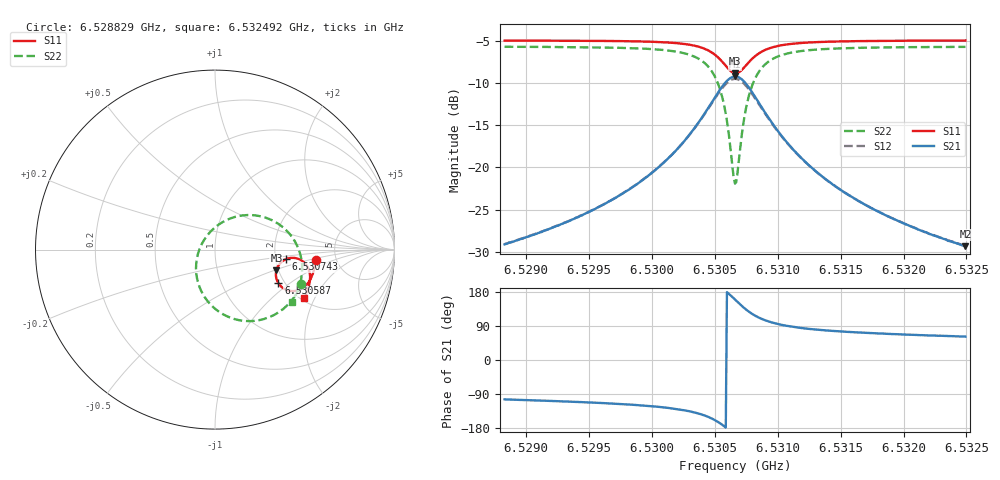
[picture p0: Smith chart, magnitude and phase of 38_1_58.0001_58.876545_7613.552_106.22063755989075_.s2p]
#  HZ  S  RI  R  50.00
! Rohde & Schwarz Vector Network Analyzer
! Rohde-Schwarz,ZNB20-2Port,1311601062101988,3.16
! Created: UTC 3/21/2024, 12:51:57 AM
! freq[Hz]  re:S11  im:S11  re:S21  im:S21  re:S12  im:S12  re:S22  im:S22
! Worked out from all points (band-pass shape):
!   401 points, 6.528829 GHz to 6.532492 GHz, reference 50 ohm
!   highest |S21| = -9.23 dB at 6.53066 GHz (marker M1); lowest = -29.3 dB at 6.532492 GHz (marker M2)
!   |S21| within 3 dB of the highest: 6.530478 GHz to 6.530845 GHz (366.3 kHz wide, 0.00561 % of centre)
!   lowest |S11| = -8.8 dB at 6.53066 GHz (marker M3), VSWR 2.13, Z = 97.5 - j25.8 ohm
!   |S11| at or under -10 dB: nowhere
!   |S22| runs from -21.9 to -5.7 dB; largest |S21 - S12| = 0.015
!   S11 on the Smith chart (normalised r, x): 6.528829 GHz: 3.47, -0.60; 6.530587 GHz: 1.85, -0.83; 6.530743 GHz: 2.28, -0.29; 6.532492 GHz: 2.08, -1.66
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6.5288286e9  0.5608 -0.0593  -0.00837 -0.0339  -0.0092 -0.0338  0.4819 -0.1917
6.5294422e9  0.5512 -0.1126  -0.0188 -0.0483  -0.0199 -0.0482  0.4489 -0.2537
6.5297627e9  0.5412 -0.1444  -0.0309 -0.0624  -0.0327 -0.0616  0.4171 -0.2953
6.5300557e9  0.5235 -0.1793  -0.0559 -0.0837  -0.0584 -0.0821  0.3605 -0.3451
6.5302755e9  0.4933 -0.2115  -0.1032 -0.1072  -0.1065 -0.1035  0.2654 -0.3886
6.5304312e9  0.4436 -0.2309  -0.183 -0.1142  -0.1855 -0.106  0.1193 -0.3896
6.5305228e9  0.3921 -0.2219  -0.2637 -0.0807  -0.262 -0.0687  -0.0144 -0.3164
6.5305594e9  0.3688 -0.206  -0.2985 -0.046  -0.2934 -0.0337  -0.0661 -0.2508
6.5305869e9  0.3533 -0.1873  -0.32 -0.00921  -0.3118 0.00267  -0.0942 -0.1846
6.5306418e9  0.3394 -0.1346  -0.3325 0.0874  -0.3193 0.0939  -0.0947 -0.0229
6.5306601e9  0.3421 -0.1153  -0.3237 0.1213  -0.3102 0.1255  -0.0739 0.0309
6.5306785e9  0.349 -0.097  -0.3086 0.1529  -0.2951 0.1547  -0.0427 0.0797
6.5307151e9  0.3724 -0.0675  -0.263 0.2026  -0.2516 0.2006  0.0413 0.1527
6.5307426e9  0.3947 -0.0536  -0.2222 0.2254  -0.2132 0.2214  0.1126 0.1824
6.53077e9  0.4174 -0.047  -0.1818 0.2357  -0.1749 0.2313  0.1815 0.1925
6.5308067e9  0.445 -0.0468  -0.1341 0.236  -0.1296 0.2315  0.2617 0.1837
6.5308982e9  0.4915 -0.0671  -0.055 0.2043  -0.0532 0.202  0.3907 0.1135
6.5310356e9  0.5201 -0.1048  -0.00638 0.1518  -0.00518 0.151  0.4642 0.00688
6.5312737e9  0.5297 -0.1518  0.0148 0.0977  0.016 0.0975  0.4857 -0.1053
6.5315393e9  0.5265 -0.1871  0.0186 0.0677  0.0197 0.0676  0.4781 -0.1738
6.5318873e9  0.517 -0.2222  0.0184 0.0474  0.0192 0.0471  0.461 -0.2285
6.5324917e9  0.4961 -0.2712  0.0161 0.0301  0.0167 0.0298  0.4296 -0.2893
